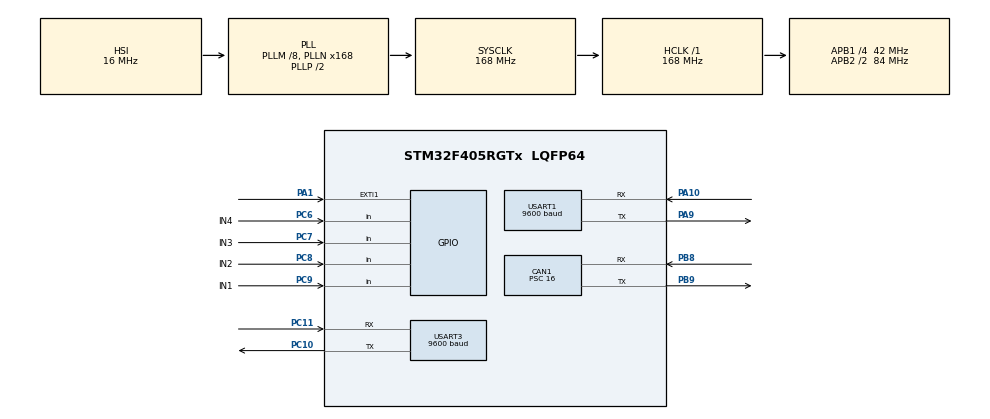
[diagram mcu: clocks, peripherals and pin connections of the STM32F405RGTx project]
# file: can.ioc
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CAN1.AWUM=ENABLE
CAN1.BS1=CAN_BS1_8TQ
CAN1.BS2=CAN_BS2_5TQ
CAN1.CalculateTimeQuantum=380.95238095238096
CAN1.Prescaler=16
Mcu.Family=STM32F4
Mcu.Name=STM32F405RGTx
Mcu.Package=LQFP64
NVIC.CAN1_RX0_IRQn=true\:0\:0\:false\:false\:true\:true
NVIC.EXTI1_IRQn=true\:0\:0\:false\:false\:true\:true
NVIC.PriorityGroup=NVIC_PRIORITYGROUP_4
NVIC.TIM2_IRQn=true\:0\:0\:false\:false\:true\:true
NVIC.TIM3_IRQn=true\:0\:0\:false\:false\:true\:true
NVIC.USART1_IRQn=true\:0\:0\:false\:false\:true\:true
NVIC.USART3_IRQn=true\:0\:0\:false\:false\:true\:true
PA1.Signal=GPXTI1
PA10.Mode=Asynchronous
PA10.Signal=USART1_RX
PA13.Mode=Serial_Wire
PA13.Signal=SYS_JTMS-SWDIO
PA14.Mode=Serial_Wire
PA14.Signal=SYS_JTCK-SWCLK
PA9.Mode=Asynchronous
PA9.Signal=USART1_TX
PB8.Mode=Master
PB8.Signal=CAN1_RX
PB9.Mode=Master
PB9.Signal=CAN1_TX
PC10.Mode=Asynchronous
PC10.Signal=USART3_TX
PC11.Mode=Asynchronous
PC11.Signal=USART3_RX
PC6.GPIO_Label=IN4
PC6.Signal=GPIO_Input
PC7.GPIO_Label=IN3
PC7.Signal=GPIO_Input
PC8.GPIO_Label=IN2
PC8.Signal=GPIO_Input
PC9.GPIO_Label=IN1
PC9.Signal=GPIO_Input
ProjectManager.HeapSize=0x400
ProjectManager.StackSize=0x400
ProjectManager.TargetToolchain=MDK-ARM V5
RCC.48MHZClocksFreq_Value=84000000
RCC.AHBFreq_Value=168000000
RCC.APB1CLKDivider=RCC_HCLK_DIV4
RCC.APB1Freq_Value=42000000
RCC.APB1TimFreq_Value=84000000
RCC.APB2CLKDivider=RCC_HCLK_DIV2
RCC.APB2Freq_Value=84000000
RCC.APB2TimFreq_Value=168000000
RCC.CortexFreq_Value=168000000
RCC.HCLKFreq_Value=168000000
RCC.HSE_VALUE=25000000
RCC.HSI_VALUE=16000000
RCC.LSE_VALUE=32768
RCC.PLLM=8
RCC.PLLN=168
RCC.SYSCLKFreq_VALUE=168000000
RCC.SYSCLKSource=RCC_SYSCLKSOURCE_PLLCLK
RCC.VCOOutputFreq_Value=336000000
TIM3.Period=100-1
TIM3.Prescaler=840-1
USART1.BaudRate=9600
USART1.VirtualMode=VM_ASYNC
USART3.BaudRate=9600
USART3.VirtualMode=VM_ASYNC
VP_TIM2_VS_ClockSourceINT.Mode=Internal
VP_TIM3_VS_ClockSourceINT.Mode=Internal
board=custom

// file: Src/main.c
/* USER CODE BEGIN Header */
/**
  ******************************************************************************
  * @file           : main.c
  * @brief          : Main program body
  ******************************************************************************
  ** This notice applies to any and all portions of this file
  * that are not between comment pairs USER CODE BEGIN and
  * USER CODE END. Other portions of this file, whether
  * inserted by the user or by software development tools
  * are owned by their respective copyright owners.
  *
  * COPYRIGHT(c) 2019 STMicroelectronics
  *
  * Redistribution and use in source and binary forms, with or without modification,
  * are permitted provided that the following conditions are met:
  *   1. Redistributions of source code must retain the above copyright notice,
  *      this list of conditions and the following disclaimer.
  *   2. Redistributions in binary form must reproduce the above copyright notice,
  *      this list of conditions and the following disclaimer in the documentation
  *      and/or other materials provided with the distribution.
  *   3. Neither the name of STMicroelectronics nor the names of its contributors
  *      may be used to endorse or promote products derived from this software
  *      without specific prior written permission.
  *
  * THIS SOFTWARE IS PROVIDED BY THE COPYRIGHT HOLDERS AND CONTRIBUTORS "AS IS"
  * AND ANY EXPRESS OR IMPLIED WARRANTIES, INCLUDING, BUT NOT LIMITED TO, THE
  * IMPLIED WARRANTIES OF MERCHANTABILITY AND FITNESS FOR A PARTICULAR PURPOSE ARE
  * DISCLAIMED. IN NO EVENT SHALL THE COPYRIGHT HOLDER OR CONTRIBUTORS BE LIABLE
  * FOR ANY DIRECT, INDIRECT, INCIDENTAL, SPECIAL, EXEMPLARY, OR CONSEQUENTIAL
  * DAMAGES (INCLUDING, BUT NOT LIMITED TO, PROCUREMENT OF SUBSTITUTE GOODS OR
  * SERVICES; LOSS OF USE, DATA, OR PROFITS; OR BUSINESS INTERRUPTION) HOWEVER
  * CAUSED AND ON ANY THEORY OF LIABILITY, WHETHER IN CONTRACT, STRICT LIABILITY,
  * OR TORT (INCLUDING NEGLIGENCE OR OTHERWISE) ARISING IN ANY WAY OUT OF THE USE
  * OF THIS SOFTWARE, EVEN IF ADVISED OF THE POSSIBILITY OF SUCH DAMAGE.
  *
  ******************************************************************************
  */
/* USER CODE END Header */

#include "main.h"
#include "can.h"
#include "tim.h"
#include "usart.h"
#include "gpio.h"

/* USER CODE BEGIN PV */
/* CAN variables */
extern CAN_TxHeaderTypeDef   TxHeader;
extern CAN_RxHeaderTypeDef   RxHeader;
extern uint8_t               TxData[8];
extern uint8_t               RxData[8];
extern uint32_t              TxMailbox;
/* USER CODE END PV */

void SystemClock_Config(void);
/* USER CODE BEGIN PFP */
#ifdef __GNUC__
  /* With GCC/RAISONANCE, small printf (option LD Linker->Libraries->Small printf
     set to 'Yes') calls __io_putchar() */
  #define PUTCHAR_PROTOTYPE int __io_putchar(int ch)
#else
  #define PUTCHAR_PROTOTYPE int fputc(int ch, FILE *f)
#endif /* __GNUC__ */

	/**
  * @brief  Retargets the C library printf function to the USART.
  * @param  None
  * @retval None
  */
PUTCHAR_PROTOTYPE
{
    /* Place your implementation of fputc here */
    /* e.g. write a character to the USART */
    HAL_UART_Transmit(&huart1, (uint8_t *)&ch, 1, 500);

    return ch;
}
/* USER CODE END PFP */

int main(void)
{

  /* MCU Configuration--------------------------------------------------------*/

  /* Reset of all peripherals, Initializes the Flash interface and the Systick. */
  HAL_Init();

  /* Configure the system clock */
  SystemClock_Config();

  /* Initialize all configured peripherals */
  MX_GPIO_Init();
  MX_CAN1_Init();
  MX_USART3_UART_Init();
  MX_USART1_UART_Init();
  MX_TIM2_Init();
  MX_TIM3_Init();
  /* USER CODE BEGIN 2 */
	CAN_Filter();
	HAL_CAN_Start(&hcan1);

//	printf("Assalam'mualaikum\r\n");

  /* USER CODE END 2 */

  /* Infinite loop */
  while (1)
  {

    /* USER CODE BEGIN 3 */
//		printf("Kondisi %d\r\n",RxData[0]);
//		TxHeader.ExtId = 0xCC << 8 | IVC_ID;
		TxHeader.ExtId = 0x12 << 8 | IVC_ID;
		TxData[0] = 1;
		HAL_CAN_AddTxMessage(&hcan1, &TxHeader, TxData, &TxMailbox);
		HAL_Delay(100);
  }
  /* USER CODE END 3 */
}

void SystemClock_Config(void)
{
  RCC_OscInitTypeDef RCC_OscInitStruct = {0};
  RCC_ClkInitTypeDef RCC_ClkInitStruct = {0};

  /**Configure the main internal regulator output voltage
  */
  __HAL_RCC_PWR_CLK_ENABLE();
  __HAL_PWR_VOLTAGESCALING_CONFIG(PWR_REGULATOR_VOLTAGE_SCALE1);
  /**Initializes the CPU, AHB and APB busses clocks
  */
  RCC_OscInitStruct.OscillatorType = RCC_OSCILLATORTYPE_HSI;
  RCC_OscInitStruct.HSIState = RCC_HSI_ON;
  RCC_OscInitStruct.HSICalibrationValue = RCC_HSICALIBRATION_DEFAULT;
  RCC_OscInitStruct.PLL.PLLState = RCC_PLL_ON;
  RCC_OscInitStruct.PLL.PLLSource = RCC_PLLSOURCE_HSI;
  RCC_OscInitStruct.PLL.PLLM = 8;
  RCC_OscInitStruct.PLL.PLLN = 168;
  RCC_OscInitStruct.PLL.PLLP = RCC_PLLP_DIV2;
  RCC_OscInitStruct.PLL.PLLQ = 4;
  if (HAL_RCC_OscConfig(&RCC_OscInitStruct) != HAL_OK)
  {
    Error_Handler();
  }
  /**Initializes the CPU, AHB and APB busses clocks
  */
  RCC_ClkInitStruct.ClockType = RCC_CLOCKTYPE_HCLK|RCC_CLOCKTYPE_SYSCLK
                              |RCC_CLOCKTYPE_PCLK1|RCC_CLOCKTYPE_PCLK2;
  RCC_ClkInitStruct.SYSCLKSource = RCC_SYSCLKSOURCE_PLLCLK;
  RCC_ClkInitStruct.AHBCLKDivider = RCC_SYSCLK_DIV1;
  RCC_ClkInitStruct.APB1CLKDivider = RCC_HCLK_DIV4;
  RCC_ClkInitStruct.APB2CLKDivider = RCC_HCLK_DIV2;

  if (HAL_RCC_ClockConfig(&RCC_ClkInitStruct, FLASH_LATENCY_5) != HAL_OK)
  {
    Error_Handler();
  }
}

void Error_Handler(void)
{
}

/************************ (C) COPYRIGHT STMicroelectronics *****END OF FILE****/
